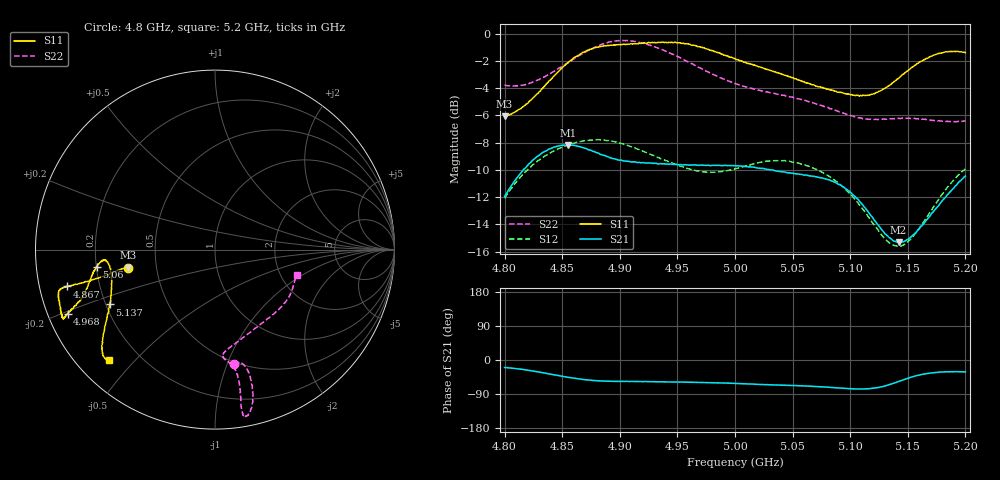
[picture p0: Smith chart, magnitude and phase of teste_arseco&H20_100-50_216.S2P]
! Network Analyzer HP8722D
! Hewlett-Packard
! Data name: Linha & Wilkinson
! Saver's name: Rodrigo Anjos
! Comments: Teste da utilização de aquisição
! continua pelo VNA HP8722D
! Time and date: 6/5/2025 14:22
!  Frequency  S11  S21  S12  S22
# HZ  S  MA R 50
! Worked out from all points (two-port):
!   401 points, 4.8 GHz to 5.2 GHz, reference 50 ohm
!   highest |S21| = -8.17 dB at 4.855 GHz (marker M1); lowest = -15.3 dB at 5.142 GHz (marker M2)
!   |S21| within 3 dB of the highest: 4.806 GHz to 5.093 GHz (286.7 MHz wide, 5.79 % of centre); 5.191392 GHz to end of sweep
!   lowest |S11| = -6.1 dB at 4.8 GHz (marker M3), VSWR 2.97, Z = 17 - j4.55 ohm
!   |S11| at or under -10 dB: nowhere
!   |S22| runs from -6.5 to -0.5 dB; largest |S21 - S12| = 0.62
!   S11 on the Smith chart (normalised r, x): 4.8 GHz: 0.34, -0.09; 4.867 GHz: 0.08, -0.12; 4.968 GHz: 0.06, -0.21; 5.06 GHz: 0.20, -0.07; 5.137 GHz: 0.22, -0.23; 5.2 GHz: 0.09, -0.42
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4.8e9  0.4968 -168.3  0.2522 -19.8  0.2488 -141.0  0.6482 -80.4
4.826e9  0.5887 -167.3  0.3475 -29.9  0.3329 -144.6  0.6685 -75.7
4.855e9  0.7823 -165.9  0.3902 -45.6  0.3896 -150.0  0.7821 -74.7
4.867e9  0.8488 -166.0  0.3824 -50.9  0.403 -152.2  0.8423 -75.4
4.88e9  0.8913 -165.7  0.3657 -54.7  0.4082 -154.3  0.8988 -76.8
4.9e9  0.9127 -162.7  0.3432 -56.4  0.3964 -156.6  0.9426 -79.2
4.934e9  0.9299 -156.6  0.3326 -57.5  0.3514 -155.8  0.883 -80.6
4.949e9  0.9276 -155.5  0.3312 -57.9  0.3316 -153.1  0.8296 -80.1
4.968e9  0.8969 -156.3  0.3286 -59.1  0.3136 -147.6  0.754 -79.6
5e9  0.8108 -159.1  0.3275 -61.9  0.3196 -137.3  0.6563 -81.2
5.038e9  0.7172 -166.3  0.3124 -66.1  0.3426 -134.7  0.5996 -85.9
5.06e9  0.6668 -171.8  0.3023 -68.3  0.3303 -136.3  0.5696 -84.3
5.067e9  0.6498 -173.1  0.2999 -69.2  0.3224 -136.8  0.5594 -82.7
5.082e9  0.622 -174.7  0.2907 -72.1  0.299 -138.4  0.5308 -77.1
5.101e9  0.5979 -172.1  0.2598 -75.8  0.2551 -138.9  0.5 -66.5
5.116e9  0.5951 -165.5  0.2204 -75.9  0.2121 -135.5  0.4859 -55.7
5.134e9  0.6456 -154.3  0.1781 -65.1  0.1705 -120.6  0.487 -43.3
5.137e9  0.661 -152.4  0.174 -62.2  0.1676 -116.8  0.4878 -41.4
5.142e9  0.6855 -149.8  0.1714 -56.7  0.1662 -110.2  0.4891 -38.6
5.154e9  0.7554 -144.5  0.1815 -44.3  0.1792 -94.9  0.4885 -32.2
5.174e9  0.8381 -138.6  0.2267 -32.9  0.2368 -80.4  0.4798 -24.0
5.2e9  0.8519 -133.7  0.3003 -31.5  0.3191 -76.9  0.478 -17.6
